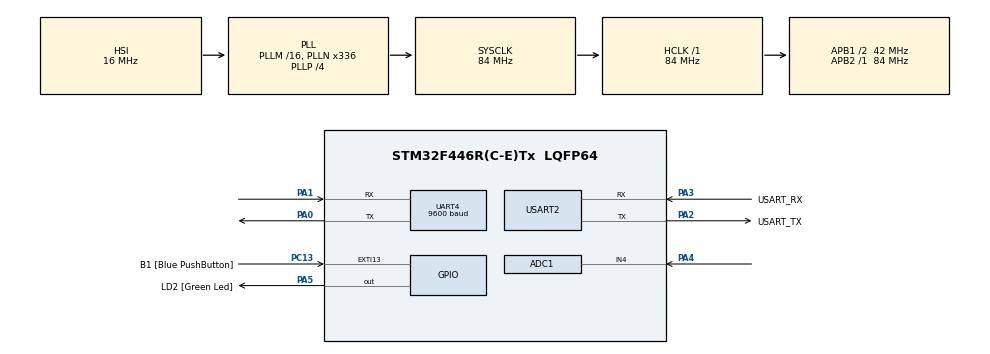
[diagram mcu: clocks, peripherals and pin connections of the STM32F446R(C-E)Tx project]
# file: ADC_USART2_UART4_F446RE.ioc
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ADC1.Channel-1\#ChannelRegularConversion=ADC_CHANNEL_4
ADC1.NbrOfConversionFlag=1
ADC1.Rank-1\#ChannelRegularConversion=1
ADC1.SamplingTime-1\#ChannelRegularConversion=ADC_SAMPLETIME_84CYCLES
ADC1.master=1
Mcu.Family=STM32F4
Mcu.Name=STM32F446R(C-E)Tx
Mcu.Package=LQFP64
NVIC.PriorityGroup=NVIC_PRIORITYGROUP_0
PA0-WKUP.Mode=Asynchronous
PA0-WKUP.Signal=UART4_TX
PA1.Mode=Asynchronous
PA1.Signal=UART4_RX
PA13.GPIO_Label=TMS
PA13.Mode=Serial_Wire
PA13.Signal=SYS_JTMS-SWDIO
PA14.GPIO_Label=TCK
PA14.Mode=Serial_Wire
PA14.Signal=SYS_JTCK-SWCLK
PA2.GPIO_Label=USART_TX
PA2.Mode=Asynchronous
PA2.Signal=USART2_TX
PA3.GPIO_Label=USART_RX
PA3.Mode=Asynchronous
PA3.Signal=USART2_RX
PA4.Signal=ADCx_IN4
PA5.GPIO_Label=LD2 [Green Led]
PA5.Signal=GPIO_Output
PB3.GPIO_Label=SWO
PB3.Signal=SYS_JTDO-SWO
PC13.GPIO_Label=B1 [Blue PushButton]
PC13.GPIO_ModeDefaultEXTI=GPIO_MODE_IT_FALLING
PC13.Signal=GPXTI13
PC14-OSC32_IN.Mode=LSE-External-Oscillator
PC14-OSC32_IN.Signal=RCC_OSC32_IN
PC15-OSC32_OUT.Mode=LSE-External-Oscillator
PC15-OSC32_OUT.Signal=RCC_OSC32_OUT
PH0-OSC_IN.Mode=HSE-External-Oscillator
PH0-OSC_IN.Signal=RCC_OSC_IN
PH1-OSC_OUT.Mode=HSE-External-Oscillator
PH1-OSC_OUT.Signal=RCC_OSC_OUT
ProjectManager.HeapSize=0x200
ProjectManager.StackSize=0x400
ProjectManager.TargetToolchain=STM32CubeIDE
RCC.48MHZClocksFreq_Value=84000000
RCC.AHBFreq_Value=84000000
RCC.APB1CLKDivider=RCC_HCLK_DIV2
RCC.APB1Freq_Value=42000000
RCC.APB1TimFreq_Value=84000000
RCC.APB2Freq_Value=84000000
RCC.APB2TimFreq_Value=84000000
RCC.CortexFreq_Value=84000000
RCC.FLatency-AdvancedSettings=FLASH_LATENCY_2
RCC.HCLKFreq_Value=84000000
RCC.HSE_VALUE=8000000
RCC.HSI_VALUE=16000000
RCC.PLLN=336
RCC.PLLP=RCC_PLLP_DIV4
RCC.SYSCLKFreq_VALUE=84000000
RCC.SYSCLKSource=RCC_SYSCLKSOURCE_PLLCLK
RCC.USBFreq_Value=168000000
RCC.VCOOutputFreq_Value=336000000
SH.ADCx_IN4.0=ADC1_IN4,IN4
UART4.BaudRate=9600
UART4.VirtualMode=Asynchronous
USART2.VirtualMode=VM_ASYNC
board=NUCLEO-F446RE

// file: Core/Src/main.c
/* USER CODE BEGIN Header */
/**
  ******************************************************************************
  * @file           : main.c
  * @brief          : Main program body
  ******************************************************************************
  * @attention
  *
  * Copyright (c) 2026 STMicroelectronics.
  * All rights reserved.
  *
  * This software is licensed under terms that can be found in the LICENSE file
  * in the root directory of this software component.
  * If no LICENSE file comes with this software, it is provided AS-IS.
  *
  ******************************************************************************
  */
/* USER CODE END Header */
#include "main.h"

/* USER CODE BEGIN Includes */
#include <stdio.h>
#include <string.h>
/* USER CODE END Includes */

ADC_HandleTypeDef hadc1;

UART_HandleTypeDef huart4;
UART_HandleTypeDef huart2;

/* USER CODE BEGIN PV */
static uint32_t adc_raw = 0;
static uint32_t adc_mv = 0;
static char tx_buffer[128];
/* USER CODE END PV */

void SystemClock_Config(void);
static void MX_GPIO_Init(void);
static void MX_USART2_UART_Init(void);
static void MX_ADC1_Init(void);
static void MX_UART4_Init(void);
/* USER CODE BEGIN PFP */
static uint32_t ADC1_ReadRaw(void);
static void Transmit_ADC_Value(uint32_t raw, uint32_t millivolts);
/* USER CODE END PFP */

/* USER CODE BEGIN 0 */
static uint32_t ADC1_ReadRaw(void)
{
    uint32_t raw = 0;

    HAL_ADC_Start(&hadc1);

    if (HAL_ADC_PollForConversion(&hadc1, 100) == HAL_OK)
    {
        raw = HAL_ADC_GetValue(&hadc1);
    }

    HAL_ADC_Stop(&hadc1);

    return raw;
}

static void Transmit_ADC_Value(uint32_t raw, uint32_t millivolts)
{
    int len = snprintf(tx_buffer,
                       sizeof(tx_buffer),
					   "%4lu | %lu.%03lu V\r\n",
					   //"ADC raw: %4lu | Voltage: %lu.%03lu V\r\n",
                       raw,
                       millivolts / 1000,
                       millivolts % 1000);

    if (len > 0)
    {
        HAL_UART_Transmit(&huart2, (uint8_t *)tx_buffer, (uint16_t)len, HAL_MAX_DELAY);
        HAL_UART_Transmit(&huart4, (uint8_t *)tx_buffer, (uint16_t)len, HAL_MAX_DELAY);
    }
}
/* USER CODE END 0 */

int main(void)
{

  /* MCU Configuration--------------------------------------------------------*/

  /* Reset of all peripherals, Initializes the Flash interface and the Systick. */
  HAL_Init();

  /* Configure the system clock */
  SystemClock_Config();

  /* Initialize all configured peripherals */
  MX_GPIO_Init();
  MX_USART2_UART_Init();
  MX_ADC1_Init();
  MX_UART4_Init();

  /* Infinite loop */
  /* USER CODE BEGIN WHILE */
  while (1)
  {
	  adc_raw = ADC1_ReadRaw();

	  //uint32_t adc_mv = 0;

	  adc_mv = (adc_raw * 3270UL) / 4095UL;

	  Transmit_ADC_Value(adc_raw, adc_mv);

	  HAL_Delay(2500);
    /* USER CODE END WHILE */

  }
}

void SystemClock_Config(void)
{
  RCC_OscInitTypeDef RCC_OscInitStruct = {0};
  RCC_ClkInitTypeDef RCC_ClkInitStruct = {0};

  /** Configure the main internal regulator output voltage
  */
  __HAL_RCC_PWR_CLK_ENABLE();
  __HAL_PWR_VOLTAGESCALING_CONFIG(PWR_REGULATOR_VOLTAGE_SCALE3);

  /** Initializes the RCC Oscillators according to the specified parameters
  * in the RCC_OscInitTypeDef structure.
  */
  RCC_OscInitStruct.OscillatorType = RCC_OSCILLATORTYPE_HSI;
  RCC_OscInitStruct.HSIState = RCC_HSI_ON;
  RCC_OscInitStruct.HSICalibrationValue = RCC_HSICALIBRATION_DEFAULT;
  RCC_OscInitStruct.PLL.PLLState = RCC_PLL_ON;
  RCC_OscInitStruct.PLL.PLLSource = RCC_PLLSOURCE_HSI;
  RCC_OscInitStruct.PLL.PLLM = 16;
  RCC_OscInitStruct.PLL.PLLN = 336;
  RCC_OscInitStruct.PLL.PLLP = RCC_PLLP_DIV4;
  RCC_OscInitStruct.PLL.PLLQ = 2;
  RCC_OscInitStruct.PLL.PLLR = 2;
  if (HAL_RCC_OscConfig(&RCC_OscInitStruct) != HAL_OK)
  {
    Error_Handler();
  }

  /** Initializes the CPU, AHB and APB buses clocks
  */
  RCC_ClkInitStruct.ClockType = RCC_CLOCKTYPE_HCLK|RCC_CLOCKTYPE_SYSCLK
                              |RCC_CLOCKTYPE_PCLK1|RCC_CLOCKTYPE_PCLK2;
  RCC_ClkInitStruct.SYSCLKSource = RCC_SYSCLKSOURCE_PLLCLK;
  RCC_ClkInitStruct.AHBCLKDivider = RCC_SYSCLK_DIV1;
  RCC_ClkInitStruct.APB1CLKDivider = RCC_HCLK_DIV2;
  RCC_ClkInitStruct.APB2CLKDivider = RCC_HCLK_DIV1;

  if (HAL_RCC_ClockConfig(&RCC_ClkInitStruct, FLASH_LATENCY_2) != HAL_OK)
  {
    Error_Handler();
  }
}

static void MX_ADC1_Init(void)
{

  ADC_ChannelConfTypeDef sConfig = {0};

  /** Configure the global features of the ADC (Clock, Resolution, Data Alignment and number of conversion)
  */
  hadc1.Instance = ADC1;
  hadc1.Init.ClockPrescaler = ADC_CLOCK_SYNC_PCLK_DIV4;
  hadc1.Init.Resolution = ADC_RESOLUTION_12B;
  hadc1.Init.ScanConvMode = DISABLE;
  hadc1.Init.ContinuousConvMode = DISABLE;
  hadc1.Init.DiscontinuousConvMode = DISABLE;
  hadc1.Init.ExternalTrigConvEdge = ADC_EXTERNALTRIGCONVEDGE_NONE;
  hadc1.Init.ExternalTrigConv = ADC_SOFTWARE_START;
  hadc1.Init.DataAlign = ADC_DATAALIGN_RIGHT;
  hadc1.Init.NbrOfConversion = 1;
  hadc1.Init.DMAContinuousRequests = DISABLE;
  hadc1.Init.EOCSelection = ADC_EOC_SINGLE_CONV;
  if (HAL_ADC_Init(&hadc1) != HAL_OK)
  {
    Error_Handler();
  }

  /** Configure for the selected ADC regular channel its corresponding rank in the sequencer and its sample time.
  */
  sConfig.Channel = ADC_CHANNEL_4;
  sConfig.Rank = 1;
  sConfig.SamplingTime = ADC_SAMPLETIME_84CYCLES;
  if (HAL_ADC_ConfigChannel(&hadc1, &sConfig) != HAL_OK)
  {
    Error_Handler();
  }

}

static void MX_UART4_Init(void)
{

  huart4.Instance = UART4;
  huart4.Init.BaudRate = 9600;
  huart4.Init.WordLength = UART_WORDLENGTH_8B;
  huart4.Init.StopBits = UART_STOPBITS_1;
  huart4.Init.Parity = UART_PARITY_NONE;
  huart4.Init.Mode = UART_MODE_TX_RX;
  huart4.Init.HwFlowCtl = UART_HWCONTROL_NONE;
  huart4.Init.OverSampling = UART_OVERSAMPLING_16;
  if (HAL_UART_Init(&huart4) != HAL_OK)
  {
    Error_Handler();
  }

}

static void MX_USART2_UART_Init(void)
{

  huart2.Instance = USART2;
  huart2.Init.BaudRate = 115200;
  huart2.Init.WordLength = UART_WORDLENGTH_8B;
  huart2.Init.StopBits = UART_STOPBITS_1;
  huart2.Init.Parity = UART_PARITY_NONE;
  huart2.Init.Mode = UART_MODE_TX_RX;
  huart2.Init.HwFlowCtl = UART_HWCONTROL_NONE;
  huart2.Init.OverSampling = UART_OVERSAMPLING_16;
  if (HAL_UART_Init(&huart2) != HAL_OK)
  {
    Error_Handler();
  }

}

static void MX_GPIO_Init(void)
{
  GPIO_InitTypeDef GPIO_InitStruct = {0};

  /* GPIO Ports Clock Enable */
  __HAL_RCC_GPIOC_CLK_ENABLE();
  __HAL_RCC_GPIOH_CLK_ENABLE();
  __HAL_RCC_GPIOA_CLK_ENABLE();
  __HAL_RCC_GPIOB_CLK_ENABLE();

  /*Configure GPIO pin Output Level */
  HAL_GPIO_WritePin(LD2_GPIO_Port, LD2_Pin, GPIO_PIN_RESET);

  /*Configure GPIO pin : B1_Pin */
  GPIO_InitStruct.Pin = B1_Pin;
  GPIO_InitStruct.Mode = GPIO_MODE_IT_FALLING;
  GPIO_InitStruct.Pull = GPIO_NOPULL;
  HAL_GPIO_Init(B1_GPIO_Port, &GPIO_InitStruct);

  /*Configure GPIO pin : LD2_Pin */
  GPIO_InitStruct.Pin = LD2_Pin;
  GPIO_InitStruct.Mode = GPIO_MODE_OUTPUT_PP;
  GPIO_InitStruct.Pull = GPIO_NOPULL;
  GPIO_InitStruct.Speed = GPIO_SPEED_FREQ_LOW;
  HAL_GPIO_Init(LD2_GPIO_Port, &GPIO_InitStruct);

}

void Error_Handler(void)
{
  __disable_irq();
  while (1)
  {
  }
}
